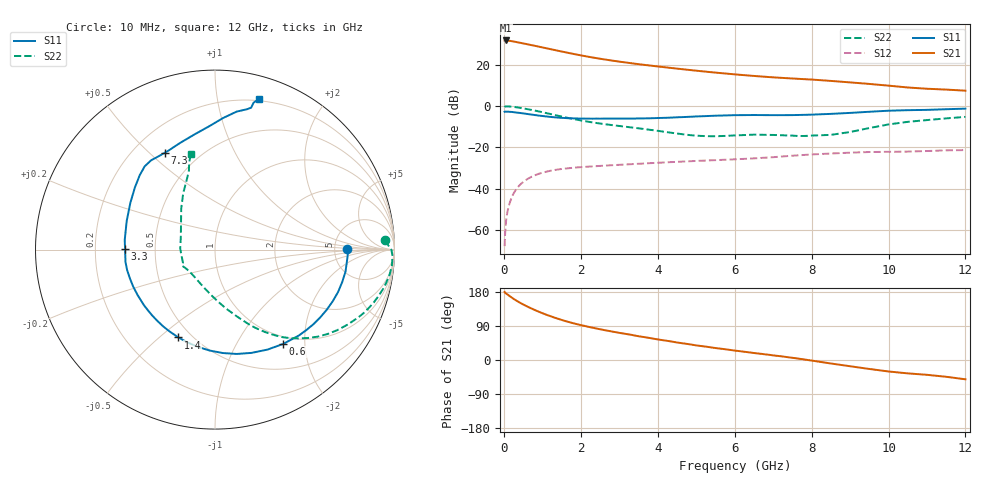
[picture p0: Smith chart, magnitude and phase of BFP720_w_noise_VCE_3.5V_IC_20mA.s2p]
! Infineon Technologies  Discrete & RF Semiconductors
! BFP720
! VCE =  3.5 V,  IC =  20 mA
! Common Emitter S-Parameters:  Aug 2012
# GHz  S  MA  R  50
!  f  S11  S21  S12  S22
! GHz  MAG  ANG  MAG  ANG  MAG  ANG  MAG  ANG
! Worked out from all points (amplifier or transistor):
!   105 points, 10 MHz to 12 GHz, reference 50 ohm
!   highest |S21| = 31.9 dB at 50 MHz (marker M1)
!   |S21| within 3 dB of that: start of sweep to 897.7 MHz
!   unconditionally stable (mu >= 1): start of sweep to 14.66 MHz; 4.445 GHz to 10.53 GHz
!   at 300 MHz: K = 0.16, MSG = 35.9 dB, |S12| = -40.6 dB
!   at 3.6 GHz: K = 0.89, MSG = 24.0 dB, |S12| = -27.9 dB
!   at 12 GHz: K = 0.75, MSG = 14.4 dB, |S12| = -21.3 dB
!   lowest NFmin = 0.77 dB at 450 MHz
!   S11 on the Smith chart (normalised r, x): 10 MHz: 6.52, +0.14; 600 MHz: 0.88, -1.59; 1.4 GHz: 0.43, -0.58; 3.3 GHz: 0.33, +0.00; 7.3 GHz: 0.33, +0.56; 12 GHz: 0.19, +1.32
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0.01  0.734 0.4  39.43 179.5  0.0004 -8.2  0.9491 3.1
0.02  0.7409 -1.6  39.5 177.5  0.0007 98.3  0.9834 -0.2
0.05  0.7383 -4.5  39.55 175.4  0.0017 82.5  0.9899 -2.2
0.15  0.7313 -14.4  38.63 168.0  0.0047 82.4  0.9824 -8.2
0.3  0.7072 -28.2  36.45 157.7  0.0093 75.7  0.9462 -16.0
0.45  0.6782 -41.4  34.14 148.9  0.0134 69.8  0.9014 -23.0
0.6  0.6486 -54.1  32.01 141.1  0.017 64.5  0.8507 -29.3
0.8  0.6104 -70.5  29.28 131.7  0.0211 58.0  0.7826 -37.0
0.9  0.594 -78.2  27.97 127.4  0.0229 55.2  0.7479 -40.5
1.1  0.5634 -92.9  25.53 119.3  0.0258 50.1  0.6797 -46.7
1.4  0.5303 -112.6  22.24 108.8  0.0291 44.1  0.588 -54.6
1.8  0.507 -133.8  18.64 96.9  0.0321 38.6  0.4894 -62.8
2.1  0.5003 -145.8  16.49 89.8  0.0337 35.9  0.4347 -67.5
2.6  0.5005 -161.6  13.73 79.0  0.0361 32.8  0.3685 -74.5
3.3  0.5012 179.5  11.1 66.5  0.0392 30.2  0.3062 -83.7
4.1  0.5202 159.6  9.011 52.7  0.0428 28.0  0.2449 -97.4
5  0.5649 142.2  7.29 38.5  0.0469 25.4  0.1927 -123.6
6.1  0.6078 129.3  5.834 23.7  0.0519 23.2  0.1972 -150.1
7.3  0.6078 117.5  4.835 8.5  0.0609 20.9  0.1962 -156.0
8.5  0.6522 100.0  4.119 -9.2  0.0711 13.4  0.2016 161.0
10.5  0.8018 77.2  2.852 -35.3  0.0792 -0.5  0.4179 112.2
12  0.8739 73.7  2.387 -50.9  0.0861 -9.9  0.5517 104.0
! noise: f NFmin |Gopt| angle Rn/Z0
0.45  0.77  0.18  1  0.29
1.8  0.82  0.18  8  0.14
2.4  0.88  0.18  11  0.54
5.5  1.11  0.17  -64  0.18
10  1.26  0.48  -71  0.33
